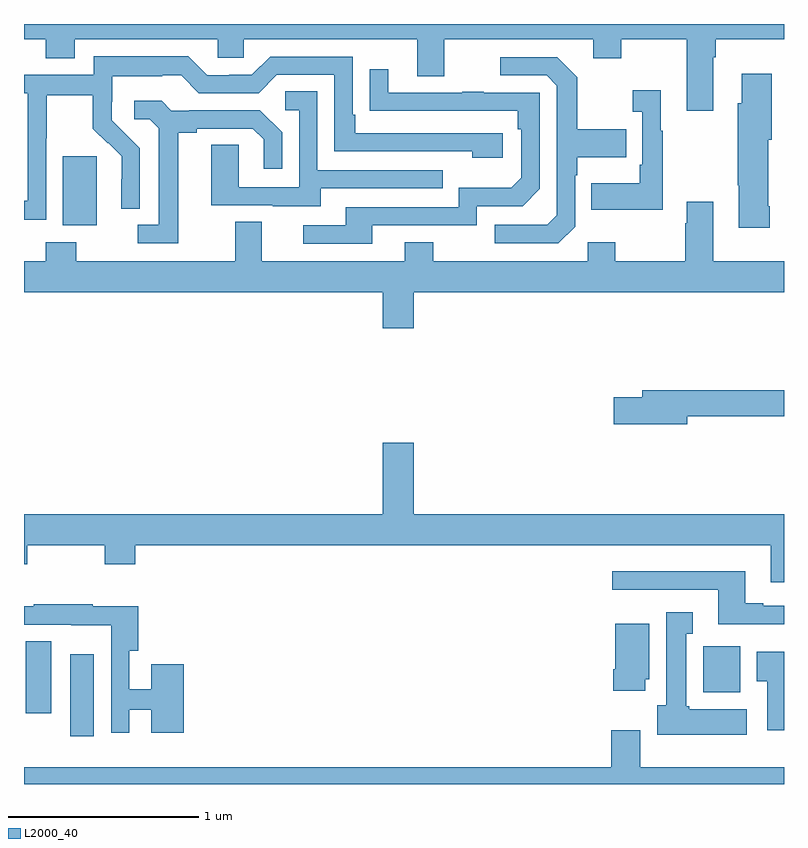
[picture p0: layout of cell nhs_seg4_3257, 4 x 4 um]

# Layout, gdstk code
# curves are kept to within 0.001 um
import gdstk
lib = gdstk.Library(unit=1e-6, precision=1e-09)
def R(c, l, rs):  # rectangles x0, y0, x1, y1
    for r in rs: c.add(gdstk.rectangle(r[:2], r[2:], *l))
def P(c, l, *ps):  # polygons
    for p in ps: c.add(gdstk.Polygon(p, *l))
L2000_40 = (2000, 40)

nhs_seg4_3257 = lib.new_cell('nhs_seg4_3257')
R(nhs_seg4_3257, L2000_40, [(283.244,793.152,283.366,793.582), (283.01,793.272,283.144,793.652), (286.574,793.382,286.771,793.624), (283.205,795.842,283.384,796.203)])
P(nhs_seg4_3257, L2000_40, [(286.627,796.724),(286.64,796.724),(286.64,796.82),(287,796.82),(287,796.9),(283,796.9),(283,796.82),(283.115,796.82),(283.115,796.721),(283.267,796.721),(283.267,796.82),(284.019,796.82),(284.019,796.722),(284.157,796.722),(284.157,796.82),(285.071,796.82),(285.071,796.626),(285.211,796.626),(285.211,796.82),(285.995,796.82),(285.995,796.721),(286.143,796.721),(286.143,796.82),(286.487,796.82),(286.487,796.443),(286.627,796.443)],
  [(283.116,796.3),(283.119,796.3),(283.119,796.524),(283.363,796.524),(283.363,796.349),(283.44,796.272),(283.443,796.275),(283.514,796.205),(283.514,796.082),(283.512,796.082),(283.512,795.928),(283.608,795.928),(283.608,796.246),(283.462,796.394),(283.462,796.491),(283.464,796.491),(283.464,796.625),(283.727,796.625),(283.727,796.629),(283.827,796.629),(283.92,796.536),(284.235,796.536),(284.331,796.632),(284.634,796.632),(284.634,796.23),(285.359,796.23),(285.359,796.196),(285.52,796.196),(285.52,796.326),(284.743,796.326),(284.743,796.423),(284.73,796.423),(284.73,796.728),(284.295,796.728),(284.199,796.632),(284.081,796.632),(284.081,796.629),(283.965,796.629),(283.865,796.729),(283.368,796.729),(283.368,796.632),(283,796.632),(283,796.536),(283.02,796.536),(283.02,795.969),(283,795.969),(283,795.871),(283.116,795.871)],
  [(285.9,795.834),(285.9,796.103),(285.913,796.103),(285.913,796.199),(286.169,796.199),(286.169,796.347),(285.913,796.347),(285.913,796.619),(285.807,796.725),(285.507,796.725),(285.507,796.629),(285.75,796.629),(285.804,796.575),(285.804,795.894),(285.753,795.843),(285.477,795.843),(285.477,795.747),(285.813,795.747)],
  [(284.833,795.84),(285.384,795.84),(285.384,795.942),(285.624,795.942),(285.714,796.032),(285.714,796.539),(285.419,796.539),(285.419,796.544),(285.307,796.544),(285.307,796.539),(284.917,796.539),(284.917,796.663),(284.821,796.663),(284.821,796.444),(285.598,796.443),(285.598,796.346),(285.618,796.346),(285.618,796.092),(285.565,796.039),(285.288,796.039),(285.288,795.936),(284.693,795.936),(284.693,795.84),(284.469,795.84),(284.469,795.744),(284.833,795.744)],
  [(286.926,795.94),(286.918,795.94),(286.918,796.29),(286.936,796.29),(286.936,796.639),(286.778,796.639),(286.778,796.482),(286.756,796.482),(286.756,796.051),(286.763,796.051),(286.763,795.828),(286.926,795.828)],
  [(286.363,796.339),(286.351,796.339),(286.351,796.552),(286.203,796.552),(286.203,796.439),(286.254,796.439),(286.254,796.159),(286.242,796.159),(286.242,796.063),(285.985,796.063),(285.985,795.923),(286.363,795.923)],
  [(284.563,796.035),(285.203,796.035),(285.203,796.131),(284.544,796.131),(284.544,796.547),(284.376,796.547),(284.376,796.446),(284.448,796.446),(284.448,796.041),(284.13,796.041),(284.13,796.265),(283.985,796.265),(283.985,795.945),(284.309,795.945),(284.309,795.941),(284.563,795.941)],
  [(283.813,796.328),(283.909,796.328),(283.909,796.35),(284.204,796.35),(284.261,796.293),(284.261,796.137),(284.358,796.137),(284.358,796.33),(284.242,796.446),(283.87,796.446),(283.87,796.443),(283.776,796.443),(283.724,796.495),(283.581,796.495),(283.581,796.398),(283.662,796.398),(283.709,796.351),(283.709,795.843),(283.599,795.843),(283.599,795.747),(283.813,795.747)],
  [(285.052,795.488),(287,795.488),(287,795.652),(286.627,795.652),(286.627,795.964),(286.487,795.964),(286.487,795.851),(286.48,795.851),(286.48,795.652),(286.113,795.652),(286.113,795.751),(285.966,795.751),(285.966,795.652),(285.153,795.652),(285.153,795.751),(285.005,795.751),(285.005,795.652),(284.251,795.652),(284.251,795.86),(284.111,795.86),(284.111,795.652),(283.275,795.652),(283.275,795.751),(283.115,795.751),(283.115,795.652),(283,795.652),(283,795.488),(284.888,795.488),(284.888,795.3),(285.052,795.3)],
  [(286.492,794.836),(287,794.836),(287,794.972),(286.253,794.972),(286.253,794.936),(286.104,794.936),(286.104,794.794),(286.492,794.794)],
  [(287,794.32),(285.052,794.32),(285.052,794.695),(284.888,794.695),(284.888,794.32),(283,794.32),(283,794.057),(283.017,794.057),(283.017,794.156),(283.426,794.156),(283.426,794.057),(283.586,794.057),(283.586,794.156),(286.931,794.156),(286.931,793.962),(287,793.962)],
  [(287,793.839),(286.891,793.839),(286.891,793.852),(286.795,793.852),(286.795,794.02),(286.095,794.02),(286.095,793.923),(286.655,793.923),(286.655,793.742),(287,793.742)],
  [(283.554,793.29),(283.67,793.29),(283.67,793.17),(283.841,793.17),(283.841,793.531),(283.67,793.531),(283.67,793.4),(283.554,793.4),(283.554,793.601),(283.601,793.601),(283.601,793.836),(283.361,793.836),(283.361,793.846),(283.051,793.846),(283.051,793.836),(283,793.836),(283,793.737),(283.248,793.737),(283.248,793.736),(283.458,793.736),(283.458,793.17),(283.554,793.17)],
  [(286.804,793.294),(286.5,793.294),(286.5,793.308),(286.486,793.308),(286.486,793.691),(286.519,793.691),(286.519,793.804),(286.379,793.804),(286.379,793.314),(286.334,793.314),(286.334,793.16),(286.804,793.16)],
  [(286.27,793.452),(286.291,793.452),(286.291,793.744),(286.112,793.744),(286.112,793.504),(286.1,793.504),(286.1,793.392),(286.27,793.392)],
  [(287,793.597),(286.856,793.597),(286.856,793.441),(286.913,793.441),(286.913,793.182),(287,793.182)],
  [(283,792.9),(287,792.9),(287,792.988),(286.243,792.988),(286.243,793.183),(286.091,793.183),(286.091,792.988),(283,792.988)])

lib.write_gds('nhs_seg4_3257.gds')
